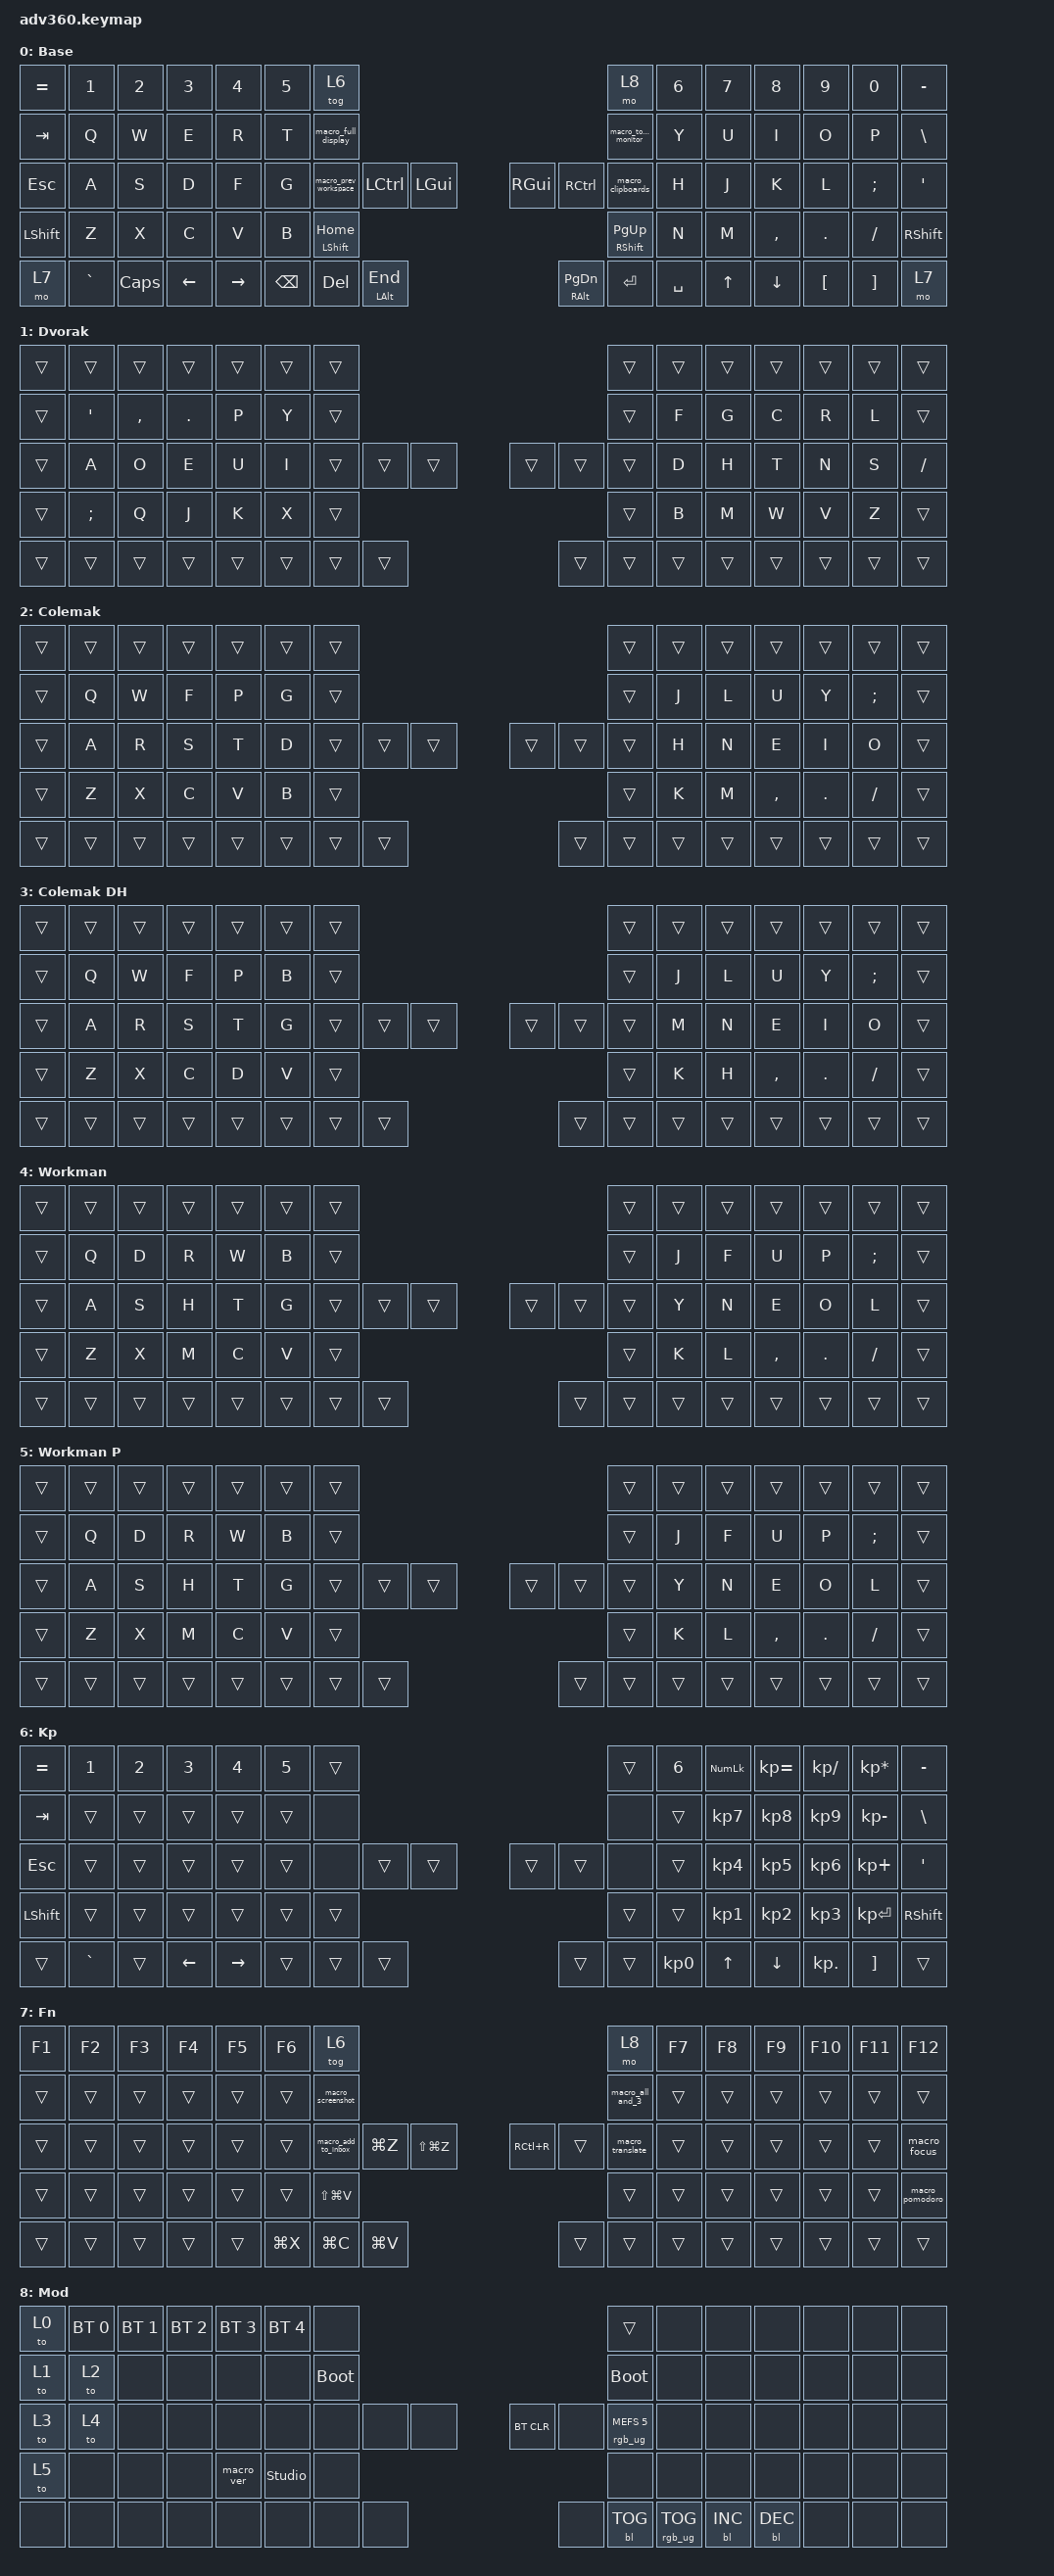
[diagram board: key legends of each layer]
#include <behaviors.dtsi>
#include <dt-bindings/zmk/keys.h>
#include <dt-bindings/zmk/bt.h>
#include <dt-bindings/zmk/rgb.h>
#include <dt-bindings/zmk/stp.h>
#include <dt-bindings/zmk/backlight.h>
#include <dt-bindings/zmk/pointing.h>

/ {
    behaviors {
      #include "macros.dtsi"
      #include "version.dtsi"

      hm: homerow_mods {
          compatible = "zmk,behavior-hold-tap";
          label = "HOMEROW_MODS";
          #binding-cells = <2>;
          tapping-term-ms = <200>;
          quick_tap_ms = <175>;
          flavor = "tap-preferred";
          bindings = <&kp>, <&kp>;
      };
    };

  keymap {
    compatible = "zmk,keymap";

            default_layer {
            display-name = "Base";
            bindings = <
 &kp EQUAL     &kp N1    &kp N2    &kp N3     &kp N4  &kp N5                          &tog 6                                                                                           &mo 8  &kp N6  &kp N7     &kp N8    &kp N9    &kp N0  &kp MINUS
   &kp TAB      &kp Q     &kp W     &kp E      &kp R   &kp T              &macro_full_display                                                                         &macro_toogle_monitor   &kp Y   &kp U      &kp I     &kp O     &kp P   &kp BSLH
   &kp ESC      &kp A     &kp S     &kp D      &kp F   &kp G            &macro_prev_workspace  &kp LCTRL        &kp LGUI                         &kp RGUI  &kp RCTRL      &macro_clipboards   &kp H   &kp J      &kp K     &kp L  &kp SEMI    &kp SQT
 &kp LSHFT      &kp Z     &kp X     &kp C      &kp V   &kp B                                              &mt LSHFT HOME                  &mt RSHFT PG_UP                                     &kp N   &kp M  &kp COMMA   &kp DOT  &kp FSLH  &kp RSHFT
    &mo 7  &kp GRAVE  &kp CAPS  &kp LEFT  &kp RIGHT                                 &kp BSPC    &kp DEL    &mt LALT END                   &mt RALT PG_DN  &kp ENTER  &kp SPACE          &kp UP   &kp DOWN  &kp LBKT  &kp RBKT     &mo 7
            >;
        };

        dvorak {
            display-name = "Dvorak";
            bindings = <
   &trans          &trans     &trans      &trans  &trans  &trans            &trans                                                  &trans  &trans  &trans  &trans     &trans     &trans   &trans
   &trans  &kp APOSTROPHE  &kp COMMA  &kp PERIOD   &kp P   &kp Y            &trans                                                  &trans   &kp F   &kp G   &kp C      &kp R      &kp L   &trans
   &trans           &kp A      &kp O       &kp E   &kp U   &kp I            &trans  &trans  &trans                  &trans  &trans  &trans   &kp D   &kp H   &kp T      &kp N      &kp S   &kp SLASH
   &trans   &kp SEMICOLON      &kp Q       &kp J   &kp K   &kp X                            &trans                  &trans                   &kp B   &kp M   &kp W      &kp V      &kp Z   &trans
   &trans          &trans     &trans      &trans  &trans                    &trans  &trans  &trans                  &trans  &trans  &trans          &trans  &trans     &trans     &trans   &trans
            >;
        };

        colemak {
            display-name = "Colemak";
            bindings = <
 &trans  &trans  &trans  &trans  &trans  &trans            &trans                                                  &trans  &trans  &trans     &trans      &trans         &trans  &trans
 &trans   &kp Q   &kp W   &kp F   &kp P   &kp G            &trans                                                  &trans   &kp J   &kp L      &kp U       &kp Y  &kp SEMICOLON  &trans
 &trans   &kp A   &kp R   &kp S   &kp T   &kp D            &trans  &trans  &trans                  &trans  &trans  &trans   &kp H   &kp N      &kp E       &kp I          &kp O  &trans
 &trans   &kp Z   &kp X   &kp C   &kp V   &kp B                            &trans                  &trans                   &kp K   &kp M  &kp COMMA  &kp PERIOD      &kp SLASH  &trans
 &trans  &trans  &trans  &trans  &trans                    &trans  &trans  &trans                  &trans  &trans  &trans          &trans     &trans      &trans         &trans  &trans
            >;
        };

        colemak_dh {
            display-name = "Colemak DH";
            bindings = <
 &trans  &trans  &trans  &trans  &trans  &trans            &trans                                                  &trans  &trans  &trans     &trans      &trans         &trans  &trans
 &trans   &kp Q   &kp W   &kp F   &kp P   &kp B            &trans                                                  &trans   &kp J   &kp L      &kp U       &kp Y  &kp SEMICOLON  &trans
 &trans   &kp A   &kp R   &kp S   &kp T   &kp G            &trans  &trans  &trans                  &trans  &trans  &trans   &kp M   &kp N      &kp E       &kp I          &kp O  &trans
 &trans   &kp Z   &kp X   &kp C   &kp D   &kp V                            &trans                  &trans                   &kp K   &kp H  &kp COMMA  &kp PERIOD      &kp SLASH  &trans
 &trans  &trans  &trans  &trans  &trans                    &trans  &trans  &trans                  &trans  &trans  &trans          &trans     &trans      &trans         &trans  &trans
            >;
        };

        workman {
            display-name = "Workman";
            bindings = <
 &trans  &trans  &trans  &trans  &trans  &trans            &trans                                                  &trans  &trans  &trans     &trans      &trans         &trans  &trans
 &trans   &kp Q   &kp D   &kp R   &kp W   &kp B            &trans                                                  &trans   &kp J   &kp F      &kp U       &kp P  &kp SEMICOLON  &trans
 &trans   &kp A   &kp S   &kp H   &kp T   &kp G            &trans  &trans  &trans                  &trans  &trans  &trans   &kp Y   &kp N      &kp E       &kp O          &kp L  &trans
 &trans   &kp Z   &kp X   &kp M   &kp C   &kp V                            &trans                  &trans                   &kp K   &kp L  &kp COMMA  &kp PERIOD      &kp SLASH  &trans
 &trans  &trans  &trans  &trans  &trans                    &trans  &trans  &trans                  &trans  &trans  &trans          &trans     &trans      &trans         &trans  &trans
            >;
        };

        workman_p {
            display-name = "Workman P";
            bindings = <
 &trans  &trans      &trans         &trans          &trans           &trans           &trans                                                  &trans     &trans   &trans        &trans       &trans       &trans         &trans
 &trans  &kp Q       &kp D          &kp R           &kp W            &kp B            &trans                                                  &trans     &kp J    &kp F         &kp U        &kp P        &kp SEMICOLON  &trans
 &trans  &kp A       &kp S          &kp H           &kp T            &kp G            &trans  &trans  &trans                  &trans  &trans  &trans     &kp Y    &kp N         &kp E        &kp O        &kp L          &trans
 &trans  &kp Z       &kp X          &kp M           &kp C            &kp V                            &trans                  &trans                     &kp K    &kp L         &kp COMMA    &kp PERIOD   &kp SLASH      &trans
 &trans  &trans      &trans         &trans          &trans                            &trans  &trans  &trans                  &trans  &trans  &trans              &trans        &trans       &trans       &trans         &trans
            >;
        };

        keypad {
            display-name = "Kp";
            bindings = <
 &kp EQUAL     &kp N1  &kp N2    &kp N3     &kp N4  &kp N5            &trans                                                     &trans  &kp N6  &kp KP_NUM  &kp KP_EQUAL  &kp KP_DIVIDE  &kp KP_MULTIPLY  &kp MINUS
   &kp TAB     &trans  &trans    &trans     &trans  &trans             &none                                                      &none  &trans   &kp KP_N7     &kp KP_N8      &kp KP_N9     &kp KP_MINUS   &kp BSLH
   &kp ESC     &trans  &trans    &trans     &trans  &trans             &none  &trans  &trans                  &trans  &trans      &none  &trans   &kp KP_N4     &kp KP_N5      &kp KP_N6      &kp KP_PLUS    &kp SQT
 &kp LSHFT     &trans  &trans    &trans     &trans  &trans                            &trans                  &trans                     &trans   &kp KP_N1     &kp KP_N2      &kp KP_N3     &kp KP_ENTER  &kp RSHFT
    &trans  &kp GRAVE  &trans  &kp LEFT  &kp RIGHT                    &trans  &trans  &trans                  &trans  &trans  &kp KP_N0              &kp UP      &kp DOWN     &kp KP_DOT         &kp RBKT     &trans
            >;
        };

        fn {
            display-name = "Fn";
            bindings = <
 &kp F1  &kp F2  &kp F3  &kp F4  &kp F5  &kp F6                        &tog 6                                                                           &mo 8  &kp F7  &kp F8  &kp F9  &kp F10  &kp F11  &kp F12
 &trans  &trans  &trans  &trans  &trans  &trans              &macro_screenshot                                                               &macro_all_and_3  &trans  &trans  &trans   &trans   &trans   &trans
 &trans  &trans  &trans  &trans  &trans  &trans            &macro_add_to_inbox  &kp LG(Z)  &kp LS(LG(Z))                  &kp RC(R)  &trans    &macro_translate  &trans  &trans  &trans   &trans   &trans   &macro_focus
 &trans  &trans  &trans  &trans  &trans  &trans                                            &kp LS(LG(V))                     &trans                              &trans  &trans  &trans   &trans   &trans   &macro_pomodoro
 &trans  &trans  &trans  &trans  &trans                              &kp LG(X)  &kp LG(C)      &kp LG(V)                     &trans  &trans              &trans          &trans  &trans   &trans   &trans   &trans
            >;
        };

        mod {
            display-name = "Mod";
            bindings = <
  &to 0  &bt BT_SEL 0  &bt BT_SEL 1  &bt BT_SEL 2  &bt BT_SEL 3  &bt BT_SEL 4                  &none                                                                          &trans   &none       &none       &none   &none   &none   &none
  &to 1         &to 2         &none         &none         &none         &none            &bootloader                                                                     &bootloader   &none       &none       &none   &none   &none   &none
  &to 3         &to 4         &none         &none         &none         &none                  &none   &none   &none                  &bt BT_CLR       &none  &rgb_ug RGB_MEFS_CMD 5   &none       &none       &none   &none   &none   &none
  &to 5         &none         &none         &none         &macro_ver         &studio_unlock                                  &none                       &none                                       &none       &none       &none   &none   &none  &none
  &none         &none         &none         &none         &none                                &none   &none   &none                       &none  &bl BL_TOG         &rgb_ug RGB_TOG          &bl BL_INC  &bl BL_DEC   &none   &none  &none
            >;
        };
  };
};
